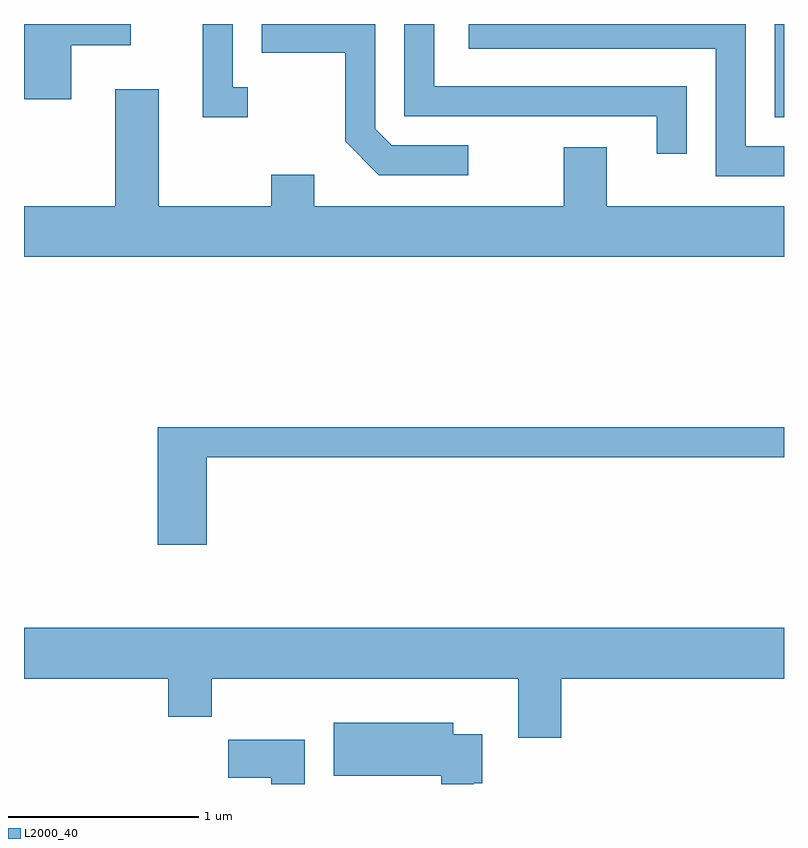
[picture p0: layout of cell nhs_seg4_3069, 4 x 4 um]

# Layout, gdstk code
import gdstk
lib = gdstk.Library(unit=1e-6, precision=1e-09)
def R(c, l, rs):  # rectangles x0, y0, x1, y1
    for r in rs: c.add(gdstk.rectangle(r[:2], r[2:], *l))
def P(c, l, *ps):  # polygons
    for p in ps: c.add(gdstk.Polygon(p, *l))
L2000_40 = (2000, 40)

nhs_seg4_3069 = lib.new_cell('nhs_seg4_3069')
R(nhs_seg4_3069, L2000_40, [(279.561,1275.491,279.611,1275.982)])
P(nhs_seg4_3069, L2000_40, [(279.611,1275.339),(279.409,1275.339),(279.409,1275.982),(277.951,1275.982),(277.951,1275.851),(279.251,1275.851),(279.251,1275.181),(279.611,1275.181)],
  [(277.948,1275.344),(277.547,1275.344),(277.459,1275.432),(277.459,1275.982),(276.861,1275.982),(276.861,1275.831),(277.301,1275.831),(277.301,1275.364),(277.479,1275.186),(277.948,1275.186)],
  [(276.788,1275.649),(276.709,1275.649),(276.709,1275.982),(276.551,1275.982),(276.551,1275.491),(276.788,1275.491)],
  [(275.859,1275.871),(276.174,1275.871),(276.174,1275.982),(275.611,1275.982),(275.611,1275.586),(275.859,1275.586)],
  [(279.099,1275.654),(277.769,1275.654),(277.769,1275.982),(277.611,1275.982),(277.611,1275.496),(278.941,1275.496),(278.941,1275.298),(279.099,1275.298)],
  [(279.611,1275.024),(278.679,1275.024),(278.679,1275.334),(278.451,1275.334),(278.451,1275.024),(277.139,1275.024),(277.139,1275.189),(276.911,1275.189),(276.911,1275.024),(276.319,1275.024),(276.319,1275.639),(276.091,1275.639),(276.091,1275.024),(275.611,1275.024),(275.611,1274.756),(279.611,1274.756)],
  [(276.574,1273.701),(279.611,1273.701),(279.611,1273.859),(276.316,1273.859),(276.316,1273.241),(276.574,1273.241)],
  [(278.439,1272.536),(279.611,1272.536),(279.611,1272.804),(275.611,1272.804),(275.611,1272.536),(276.371,1272.536),(276.371,1272.336),(276.599,1272.336),(276.599,1272.536),(278.211,1272.536),(278.211,1272.226),(278.439,1272.226)],
  [(277.979,1271.986),(278.024,1271.986),(278.024,1272.244),(277.869,1272.244),(277.869,1272.304),(277.241,1272.304),(277.241,1272.026),(277.806,1272.026),(277.806,1271.982),(277.979,1271.982)],
  [(277.089,1272.214),(276.686,1272.214),(276.686,1272.016),(276.911,1272.016),(276.911,1271.982),(277.089,1271.982)])

lib.write_gds('nhs_seg4_3069.gds')
